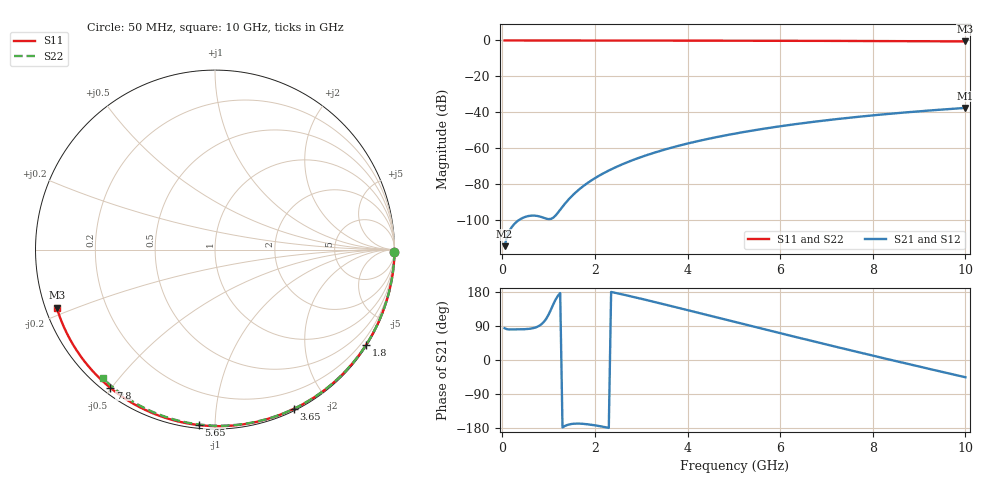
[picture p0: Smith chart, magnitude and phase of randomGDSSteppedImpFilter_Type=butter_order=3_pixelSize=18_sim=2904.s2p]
! freq	dB(S11)	phase(S11)	dB(S12)	phase(S12)
!  dB(S21)	phase(S21)	dB(S22)	phase(S22)
!S-par simulation data
#  GHz  S  DB  R 50
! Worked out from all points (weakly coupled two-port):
!   200 points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, 50 MHz to 10 GHz, reference 50 ohm
!   highest |S21| = -37.51 dB at 10 GHz (marker M1); lowest = -114.4 dB at 50 MHz (marker M2)
!   lowest |S11| = -0.5 dB at 10 GHz (marker M3), VSWR 31.97, Z = 1.61 - j8.87 ohm
!   |S11| at or under -10 dB: nowhere
!   |S22| runs from -0.4 to 0.0 dB; largest |S21 - S12| = 0
!   S11 on the Smith chart (normalised r, x): 50 MHz: open; 1.8 GHz: 0.03, -3.45; 3.65 GHz: 0.02, -1.61; 5.65 GHz: 0.02, -0.91; 7.8 GHz: 0.02, -0.50; 10 GHz: 0.03, -0.18
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0.05  -0.00 -0.9  -114.37 83.9  -114.37 83.9  -0.00 -0.8
0.45  -0.01 -8.2  -98.55 81.2  -98.55 81.2  -0.01 -6.8
0.9  -0.02 -16.3  -98.65 100.9  -98.65 100.9  -0.02 -13.5
1.3  -0.03 -23.5  -92.44 -178.0  -92.44 -178.0  -0.02 -19.5
1.75  -0.04 -31.4  -80.96 -168.5  -80.96 -168.5  -0.03 -26.1
1.8  -0.04 -32.3  -80.00 -169.1  -80.00 -169.1  -0.03 -26.8
2.1  -0.05 -37.5  -75.05 -174.5  -75.05 -174.5  -0.04 -31.2
2.3  -0.05 -41.0  -72.31 -179.2  -72.31 -179.2  -0.04 -34.1
2.5  -0.06 -44.4  -69.88 175.6  -69.88 175.6  -0.05 -37.0
2.9  -0.07 -51.3  -65.72 164.5  -65.72 164.5  -0.06 -42.7
3.4  -0.08 -59.6  -61.47 149.8  -61.47 149.8  -0.07 -49.7
3.65  -0.09 -63.8  -59.64 142.3  -59.64 142.3  -0.07 -53.2
4.3  -0.11 -74.3  -55.52 122.5  -55.52 122.5  -0.09 -62.0
5.05  -0.13 -86.1  -51.65 99.7  -51.65 99.7  -0.11 -72.0
5.65  -0.16 -95.4  -49.06 81.4  -49.06 81.4  -0.13 -79.7
6.15  -0.19 -102.9  -47.16 66.3  -47.16 66.3  -0.15 -86.0
6.7  -0.22 -111.1  -45.30 49.9  -45.30 49.9  -0.18 -92.8
7.25  -0.26 -119.2  -43.64 33.5  -43.64 33.5  -0.21 -99.4
7.8  -0.30 -127.2  -42.16 17.4  -42.16 17.4  -0.25 -105.9
8.35  -0.35 -135.2  -40.82 1.4  -40.82 1.4  -0.29 -112.3
9.2  -0.44 -147.8  -38.99 -22.9  -38.99 -22.9  -0.36 -122.0
10  -0.54 -159.9  -37.51 -45.5  -37.51 -45.5  -0.44 -131.0
